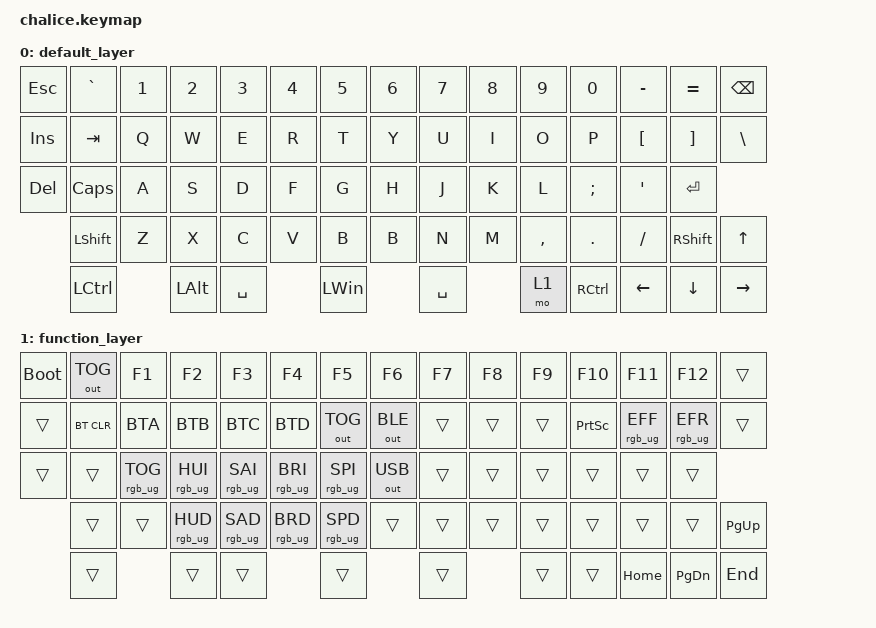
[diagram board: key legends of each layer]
/*
 * Copyright (c) 2021 The ZMK Contributors
 *
 * SPDX-License-Identifier: MIT
 */

#include <behaviors.dtsi>
#include <dt-bindings/zmk/bt.h>
#include <dt-bindings/zmk/keys.h>
#include <dt-bindings/zmk/outputs.h>
#include <dt-bindings/zmk/rgb.h>

/ {
    macros {
        BTA: BT0 {
            compatible = "zmk,behavior-macro";
            #binding-cells = <0>;
            bindings = <&bt BT_SEL 0 &rgb_ug RGB_COLOR_HSB(0,0,100)>;
            label = "BT0";
        };

        BTB: BTB {
            compatible = "zmk,behavior-macro";
            #binding-cells = <0>;
            bindings = <&bt BT_SEL 1 &rgb_ug RGB_COLOR_HSB(248,100,48)>;
            label = "BTB";
        };

        BTC: BTC {
            compatible = "zmk,behavior-macro";
            #binding-cells = <0>;
            bindings = <&bt BT_SEL 2 &rgb_ug RGB_COLOR_HSB(196,100,48)>;
            label = "BTC";
        };

        BTD: BTD {
            compatible = "zmk,behavior-macro";
            #binding-cells = <0>;
            bindings = <&bt BT_SEL 3 &rgb_ug RGB_COLOR_HSB(62,100,48)>;
            label = "BTD";
        };
    };

    keymap {
        compatible = "zmk,keymap";

        default_layer {
            bindings = <
&kp ESC     &kp GRAVE  &kp N1  &kp N2    &kp N3     &kp N4  &kp N5        &kp N6  &kp N7     &kp N8  &kp N9     &kp N0     &kp MINUS  &kp EQUAL  &kp BSPC
&kp INSERT  &kp TAB    &kp Q   &kp W     &kp E      &kp R   &kp T         &kp Y   &kp U      &kp I   &kp O      &kp P      &kp LBKT   &kp RBKT   &kp BSLH
&kp DELETE  &kp CAPS   &kp A   &kp S     &kp D      &kp F   &kp G         &kp H   &kp J      &kp K   &kp L      &kp SEMI   &kp SQT    &kp ENTER
            &kp LSHFT  &kp Z   &kp X     &kp C      &kp V   &kp B         &kp B   &kp N      &kp M   &kp COMMA  &kp DOT    &kp SLASH  &kp RSHFT  &kp UP
            &kp LCTRL          &kp LALT  &kp SPACE          &kp LEFT_WIN          &kp SPACE          &mo 1      &kp RCTRL  &kp LEFT   &kp DOWN   &kp RIGHT
            >;
        };

        function_layer {
            bindings = <
&bootloader  &out OUT_TOG  &kp F1           &kp F2           &kp F3           &kp F4           &kp F5           &kp F6        &kp F7  &kp F8  &kp F9  &kp F10          &kp F11          &kp F12          &trans
&trans       &bt BT_CLR    &BTA             &BTB             &BTC             &BTD             &out OUT_TOG     &out OUT_BLE  &trans  &trans  &trans  &kp PRINTSCREEN  &rgb_ug RGB_EFF  &rgb_ug RGB_EFR  &trans
&trans       &trans        &rgb_ug RGB_TOG  &rgb_ug RGB_HUI  &rgb_ug RGB_SAI  &rgb_ug RGB_BRI  &rgb_ug RGB_SPI  &out OUT_USB  &trans  &trans  &trans  &trans           &trans           &trans
             &trans        &trans           &rgb_ug RGB_HUD  &rgb_ug RGB_SAD  &rgb_ug RGB_BRD  &rgb_ug RGB_SPD  &trans        &trans  &trans  &trans  &trans           &trans           &trans           &kp PG_UP
             &trans                         &trans           &trans                            &trans                         &trans          &trans  &trans           &kp HOME         &kp PG_DN        &kp END
            >;
        };
    };
};
